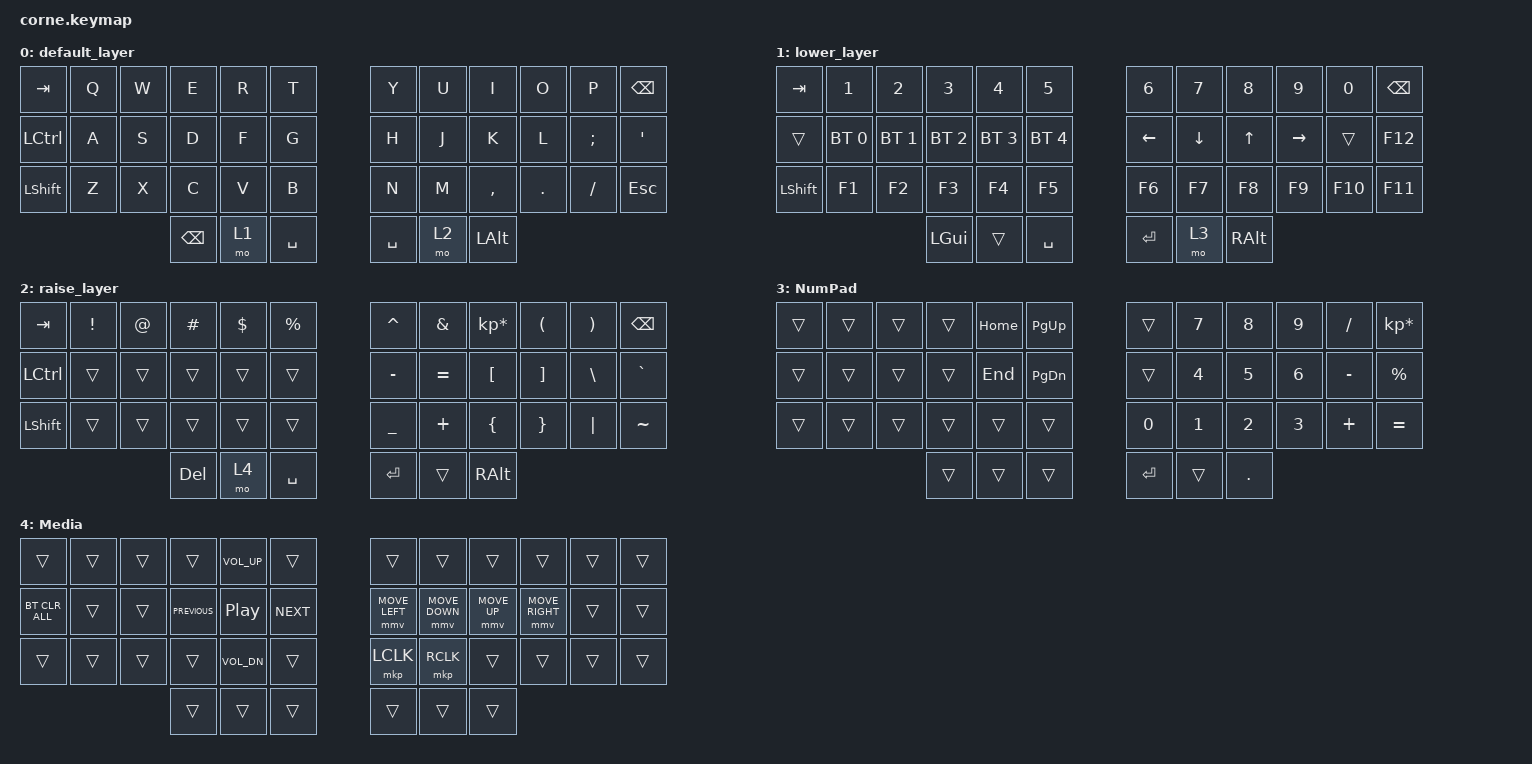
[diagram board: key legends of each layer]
/*
 * Copyright (c) 2020 The ZMK Contributors
 *
 * SPDX-License-Identifier: MIT
 */

#include <behaviors.dtsi>
#include <dt-bindings/zmk/bt.h>
#include <dt-bindings/zmk/keys.h>
#include <dt-bindings/zmk/pointing.h>

/ {
    combos { compatible = "zmk,combos"; };

    keymap {
        compatible = "zmk,keymap";

        default_layer {
            // -----------------------------------------------------------------------------------------
            // |  TAB |  Q  |  W  |  E  |  R  |  T  |   |  Y  |  U   |  I  |  O  |  P  | BKSP |
            // | CTRL |  A  |  S  |  D  |  F  |  G  |   |  H  |  J   |  K  |  L  |  ;  |  '   |
            // | SHFT |  Z  |  X  |  C  |  V  |  B  |   |  N  |  M   |  ,  |  .  |  /  | ESC  |
            //                    | GUI | LWR | SPC |   | ENT | RSE  | ALT |

            bindings = <
&kp TAB    &kp Q  &kp W  &kp E     &kp R  &kp T        &kp Y      &kp U  &kp I         &kp O    &kp P     &kp BSPC
&kp LCTRL  &kp A  &kp S  &kp D     &kp F  &kp G        &kp H      &kp J  &kp K         &kp L    &kp SEMI  &kp SQT
&kp LSHFT  &kp Z  &kp X  &kp C     &kp V  &kp B        &kp N      &kp M  &kp COMMA     &kp DOT  &kp FSLH  &kp ESC
                         &kp BSPC  &mo 1  &kp SPACE    &kp SPACE  &mo 2  &kp LEFT_ALT
            >;
        };

        lower_layer {
            // -----------------------------------------------------------------------------------------
            // |  TAB |  1  |  2  |  3  |  4  |  5  |   |  6  |  7  |  8  |  9  |  0  | BKSP |
            // | BTCLR| BT1 | BT2 | BT3 | BT4 | BT5 |   | LFT | DWN |  UP | RGT |     |      |
            // | SHFT |     |     |     |     |     |   |     |     |     |     |     |      |
            //                    | GUI |     | SPC |   | ENT |     | ALT |

            bindings = <
&kp TAB    &kp N1        &kp N2        &kp N3        &kp N4        &kp N5          &kp N6    &kp N7    &kp N8         &kp N9     &kp N0   &kp BSPC
&trans     &bt BT_SEL 0  &bt BT_SEL 1  &bt BT_SEL 2  &bt BT_SEL 3  &bt BT_SEL 4    &kp LEFT  &kp DOWN  &kp UP         &kp RIGHT  &trans   &kp F12
&kp LSHFT  &kp F1        &kp F2        &kp F3        &kp F4        &kp F5          &kp F6    &kp F7    &kp F8         &kp F9     &kp F10  &kp F11
                                       &kp LGUI      &trans        &kp SPACE       &kp RET   &mo 3     &kp RIGHT_ALT
            >;
        };

        raise_layer {
            // -----------------------------------------------------------------------------------------
            // |  TAB |  !  |  @  |  #  |  $  |  %  |   |  ^  |  &  |  *  |  (  |  )  | BKSP |
            // | CTRL |     |     |     |     |     |   |  -  |  =  |  [  |  ]  |  \  |  `   |
            // | SHFT |     |     |     |     |     |   |  _  |  +  |  {  |  }  | "|" |  ~   |
            //                    | GUI |     | SPC |   | ENT |     | ALT |

            bindings = <
&kp TAB    &kp EXCL  &kp AT  &kp HASH  &kp DLLR  &kp PRCNT    &kp CARET  &kp AMPS   &kp KP_MULTIPLY  &kp LPAR  &kp RPAR  &kp BSPC
&kp LCTRL  &trans    &trans  &trans    &trans    &trans       &kp MINUS  &kp EQUAL  &kp LBKT         &kp RBKT  &kp BSLH  &kp GRAVE
&kp LSHFT  &trans    &trans  &trans    &trans    &trans       &kp UNDER  &kp PLUS   &kp LBRC         &kp RBRC  &kp PIPE  &kp TILDE
                             &kp DEL   &mo 4     &kp SPACE    &kp RET    &trans     &kp RALT
            >;
        };

        NumPad {
            bindings = <
&trans  &trans  &trans  &trans  &kp HOME  &kp PAGE_UP      &trans        &kp N7  &kp N8   &kp N9  &kp FSLH   &kp KP_MULTIPLY
&trans  &trans  &trans  &trans  &kp END   &kp PAGE_DOWN    &trans        &kp N4  &kp N5   &kp N6  &kp MINUS  &kp PERCENT
&trans  &trans  &trans  &trans  &trans    &trans           &kp NUMBER_0  &kp N1  &kp N2   &kp N3  &kp PLUS   &kp EQUAL
                        &trans  &trans    &trans           &kp ENTER     &trans  &kp DOT
            >;
        };

        Media {
            bindings = <
&trans          &trans  &trans  &trans          &kp C_VOL_UP      &trans        &trans          &trans          &trans        &trans           &trans  &trans
&bt BT_CLR_ALL  &trans  &trans  &kp C_PREVIOUS  &kp C_PLAY_PAUSE  &kp C_NEXT    &mmv MOVE_LEFT  &mmv MOVE_DOWN  &mmv MOVE_UP  &mmv MOVE_RIGHT  &trans  &trans
&trans          &trans  &trans  &trans          &kp C_VOL_DN      &trans        &mkp LCLK       &mkp RCLK       &trans        &trans           &trans  &trans
                                &trans          &trans            &trans        &trans          &trans          &trans
            >;
        };
    };
};
